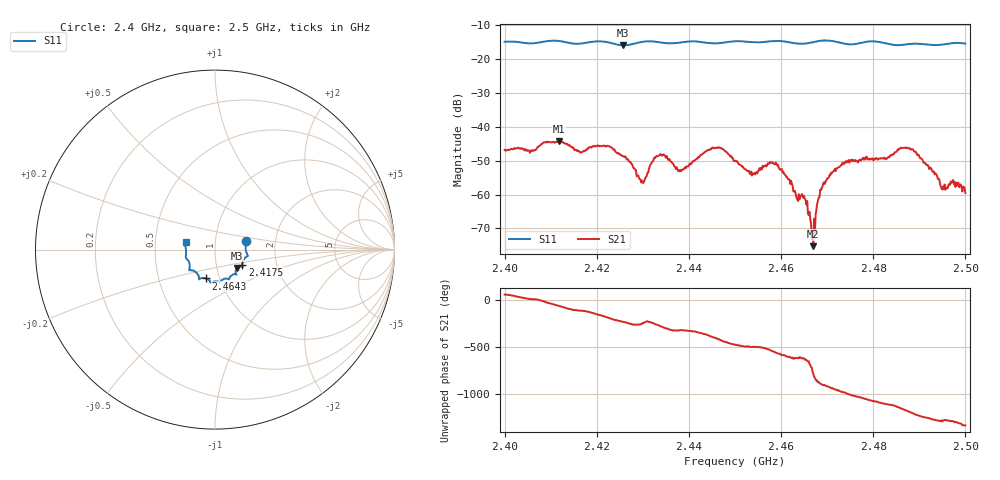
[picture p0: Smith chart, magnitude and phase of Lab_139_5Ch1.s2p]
# Hz S RI R 50
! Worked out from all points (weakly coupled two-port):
!   601 points, 2.4 GHz to 2.5 GHz, reference 50 ohm
!   highest |S21| = -44.20 dB at 2.4118 GHz (marker M1); lowest = -75.2 dB at 2.467 GHz (marker M2)
!   lowest |S11| = -15.9 dB at 2.4257 GHz (marker M3), VSWR 1.38, Z = 62.5 - j13 ohm
!   |S11| at or under -10 dB: start of sweep to end of sweep
!   S12 and S22 are empty: the file has one direction only
!   S11 on the Smith chart (normalised r, x): 2.4 GHz: 1.41, +0.14; 2.4175 GHz: 1.34, -0.23; 2.4643 GHz: 0.86, -0.28; 2.5 GHz: 0.72, +0.06
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2.4e9  0.1732 0.049  0.0025 0.00381  0 0  0 0
2.411833e9  0.1814 -0.0365  0.00274 -0.00552  0 0  0 0
2.416667e9  0.1527 -0.074  -0.00174 -0.00378  0 0  0 0
2.4175e9  0.1518 -0.0837  -0.00208 -0.00395  0 0  0 0
2.425667e9  0.123 -0.1016  -0.00235 0.00288  0 0  0 0
2.429833e9  0.1171 -0.136  -0.000564 0.0015  0 0  0 0
2.433333e9  0.1135 -0.1372  -0.000106 0.0037  0 0  0 0
2.438e9  0.0823 -0.1542  0.00165 0.00145  0 0  0 0
2.4455e9  0.0516 -0.1626  0.00373 -0.00309  0 0  0 0
2.45e9  0.0287 -0.1812  -0.00128 -0.0029  0 0  0 0
2.453833e9  0.0121 -0.177  -0.00148 -0.00143  0 0  0 0
2.458833e9  -0.0222 -0.1839  -0.00283 0.000906  0 0  0 0
2.464333e9  -0.0498 -0.1607  -0.000311 0.000896  0 0  0 0
2.465167e9  -0.0598 -0.1585  3.25e-05 0.000867  0 0  0 0
2.466667e9  -0.0761 -0.159  0.000218 1.49e-05  0 0  0 0
2.467e9  -0.079 -0.1598  8.11e-05 -0.000153  0 0  0 0
2.468667e9  -0.0878 -0.165  -0.00114 -0.000223  0 0  0 0
2.471167e9  -0.088 -0.1623  -0.00181 0.00115  0 0  0 0
2.483333e9  -0.1409 -0.0896  0.00327 -0.00154  0 0  0 0
2.488167e9  -0.1606 -0.0485  -0.00158 -0.0043  0 0  0 0
2.495167e9  -0.1637 0.0118  -0.00125 0.000392  0 0  0 0
2.5e9  -0.1637 0.043  -0.000407 0.000971  0 0  0 0
